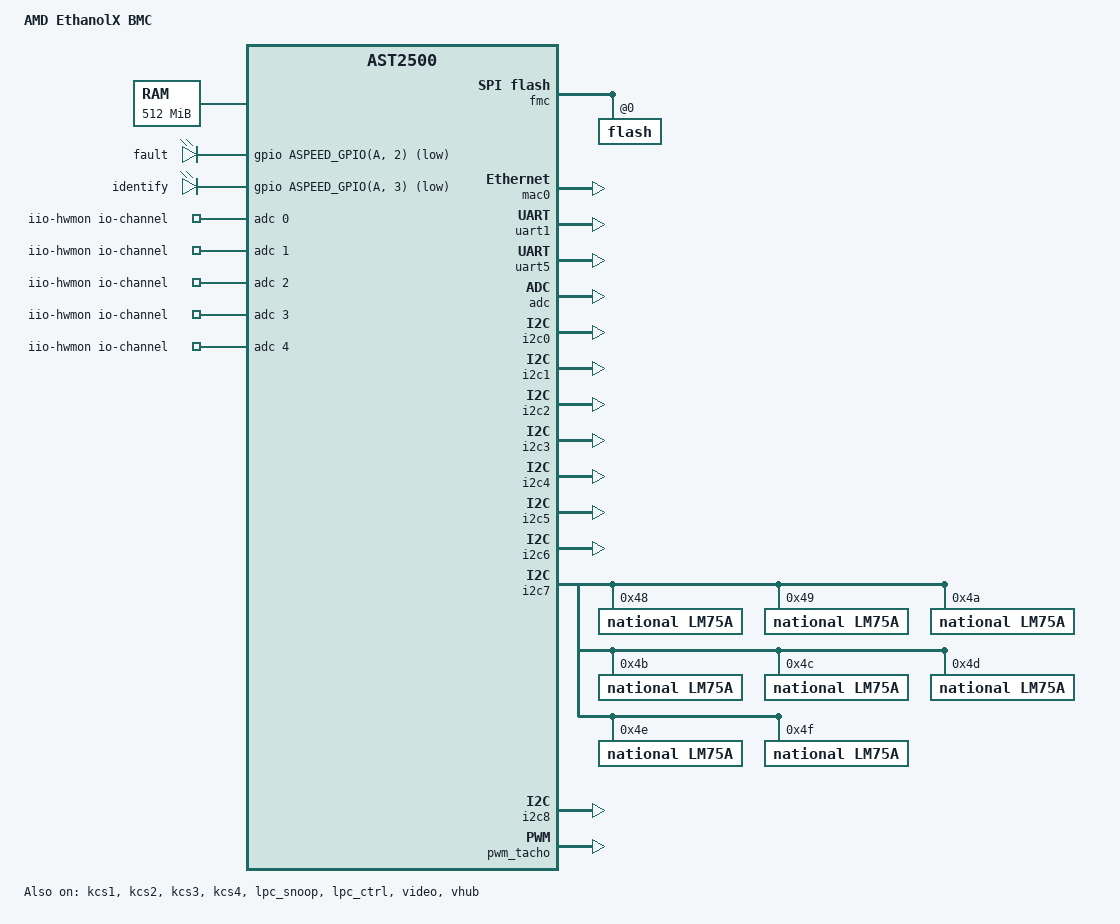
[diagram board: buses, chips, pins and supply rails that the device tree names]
// SPDX-License-Identifier: GPL-2.0
// Copyright (c) 2020 AMD Inc.
// Author: Supreeth Venkatesh <supreeth.venkatesh@amd.com>
/dts-v1/;

#include "aspeed-g5.dtsi"
#include <dt-bindings/gpio/aspeed-gpio.h>

/ {
	model = "AMD EthanolX BMC";
	compatible = "amd,ethanolx-bmc", "aspeed,ast2500";

	memory@80000000 {
		reg = <0x80000000 0x20000000>;
	};

	reserved-memory {
		#address-cells = <1>;
		#size-cells = <1>;
		ranges;

		video_engine_memory: jpegbuffer {
			size = <0x02000000>;	/* 32M */
			alignment = <0x01000000>;
			compatible = "shared-dma-pool";
			reusable;
		};
	};


	aliases {
		serial0 = &uart1;
		serial4 = &uart5;
	};
	chosen {
		stdout-path = &uart5;
		bootargs = "console=ttyS4,115200 earlycon";
	};
	leds {
		compatible = "gpio-leds";

		fault {
			gpios = <&gpio ASPEED_GPIO(A, 2) GPIO_ACTIVE_LOW>;
		};

		identify {
			gpios = <&gpio ASPEED_GPIO(A, 3) GPIO_ACTIVE_LOW>;
		};
	};
	iio-hwmon {
		compatible = "iio-hwmon";
		io-channels = <&adc 0>, <&adc 1>, <&adc 2>, <&adc 3>, <&adc 4>;
	};
};

&fmc {
	status = "okay";
	flash@0 {
		status = "okay";
		m25p,fast-read;
		#include "openbmc-flash-layout.dtsi"
	};
};


&mac0 {
	status = "okay";

	pinctrl-names = "default";
	pinctrl-0 = <&pinctrl_rmii1_default>;
	clocks = <&syscon ASPEED_CLK_GATE_MAC1CLK>,
		 <&syscon ASPEED_CLK_MAC1RCLK>;
	clock-names = "MACCLK", "RCLK";
};

&uart1 {
	//Host Console
	status = "okay";
	pinctrl-names = "default";
	pinctrl-0 = <&pinctrl_txd1_default
		     &pinctrl_rxd1_default>;
};

&uart5 {
	//BMC Console
	status = "okay";
};

&adc {
	status = "okay";

	pinctrl-names = "default";
	pinctrl-0 = <&pinctrl_adc0_default
		     &pinctrl_adc1_default
		     &pinctrl_adc2_default
		     &pinctrl_adc3_default
		     &pinctrl_adc4_default>;
};

&gpio {
	status = "okay";
	gpio-line-names =
	/*A0-A7*/	"","","FAULT_LED","CHASSIS_ID_LED","","","","",
	/*B0-B7*/	"","","","","","","","",
	/*C0-C7*/	"CHASSIS_ID_BTN","INTRUDER","AC_LOSS","","","","","",
	/*D0-D7*/	"HDT_DBREQ","LOCAL_SPI_ROM_SEL","FPGA_SPI_ROM_SEL","JTAG_MUX_S",
			"JTAG_MUX_OE","HDT_SEL","ASERT_WARM_RST_BTN","FPGA_RSVD",
	/*E0-E7*/	"","","MON_P0_PWR_BTN","MON_P0_RST_BTN","MON_P0_NMI_BTN",
			"MON_P0_PWR_GOOD","MON_PWROK","MON_RESET",
	/*F0-F7*/	"MON_P0_PROCHOT","MON_P1_PROCHOT","MON_P0_THERMTRIP",
			"MON_P1_THERMTRIP","P0_PRESENT","P1_PRESENT","MON_ATX_PWR_OK","",
	/*G0-G7*/	"BRD_REV_ID_3","BRD_REV_ID_2","BRD_REV_ID_1","BRD_REV_ID_0",
			"P0_APML_ALERT","P1_APML_ALERT","FPGA ALERT","",
	/*H0-H7*/	"BRD_ID_0","BRD_ID_1","BRD_ID_2","BRD_ID_3",
			"PCIE_DISCONNECTED","USB_DISCONNECTED","SPARE_0","SPARE_1",
	/*I0-I7*/	"","","","","","","","",
	/*J0-J7*/	"","","","","","","","",
	/*K0-K7*/	"","","","","","","","",
	/*L0-L7*/	"","","","","","","","",
	/*M0-M7*/	"ASSERT_PWR_BTN","ASSERT_RST_BTN","ASSERT_NMI_BTN",
			"ASSERT_LOCAL_LOCK","ASSERT_P0_PROCHOT","ASSERT_P1_PROCHOT",
			"ASSERT_CLR_CMOS","ASSERT_BMC_READY",
	/*N0-N7*/	"","","","","","","","",
	/*O0-O7*/	"","","","","","","","",
	/*P0-P7*/	"P0_VDD_CORE_RUN_VRHOT","P0_VDD_SOC_RUN_VRHOT",
			"P0_VDD_MEM_ABCD_SUS_VRHOT","P0_VDD_MEM_EFGH_SUS_VRHOT",
			"P1_VDD_CORE_RUN_VRHOT","P1_VDD_SOC_RUN_VRHOT",
			"P1_VDD_MEM_ABCD_SUS_VRHOT","P1_VDD_MEM_EFGH_SUS_VRHOT",
	/*Q0-Q7*/	"","","","","","","","",
	/*R0-R7*/	"","","","","","","","",
	/*S0-S7*/	"","","","","","","","",
	/*T0-T7*/	"","","","","","","","",
	/*U0-U7*/	"","","","","","","","",
	/*V0-V7*/	"","","","","","","","",
	/*W0-W7*/	"","","","","","","","",
	/*X0-X7*/	"","","","","","","","",
	/*Y0-Y7*/	"","","","","","","","",
	/*Z0-Z7*/	"","","","","","","","",
	/*AA0-AA7*/	"","SENSOR THERM","","","","","","",
	/*AB0-AB7*/	"","","","","","","","",
	/*AC0-AC7*/	"","","","","","","","";
};

//APML for P0
&i2c0 {
	status = "okay";
};

//APML for P1
&i2c1 {
	status = "okay";
};

//FPGA
&i2c2 {
	status = "okay";
};

//24LC128 EEPROM
&i2c3 {
	status = "okay";
};

//P0 Power regulators
&i2c4 {
	status = "okay";
};

//P1 Power regulators
&i2c5 {
	status = "okay";
};

//P0/P1 Thermal diode
&i2c6 {
	status = "okay";
};

// Thermal Sensors
&i2c7 {
	status = "okay";

	lm75a@48 {
		compatible = "national,lm75a";
		reg = <0x48>;
	};

	lm75a@49 {
		compatible = "national,lm75a";
		reg = <0x49>;
	};

	lm75a@4a {
		compatible = "national,lm75a";
		reg = <0x4a>;
	};

	lm75a@4b {
		compatible = "national,lm75a";
		reg = <0x4b>;
	};

	lm75a@4c {
		compatible = "national,lm75a";
		reg = <0x4c>;
	};

	lm75a@4d {
		compatible = "national,lm75a";
		reg = <0x4d>;
	};

	lm75a@4e {
		compatible = "national,lm75a";
		reg = <0x4e>;
	};

	lm75a@4f {
		compatible = "national,lm75a";
		reg = <0x4f>;
	};
};

//BMC I2C
&i2c8 {
	status = "okay";
};

&kcs1 {
	status = "okay";
	aspeed,lpc-io-reg = <0x60>;
};

&kcs2 {
	status = "okay";
	aspeed,lpc-io-reg = <0x62>;
};

&kcs3 {
	status = "okay";
	aspeed,lpc-io-reg = <0xCA2>;
};

&kcs4 {
	status = "okay";
	aspeed,lpc-io-reg = <0x97DE>;
};

&lpc_snoop {
	status = "okay";
	snoop-ports = <0x80>, <0x81>;
};

&lpc_ctrl {
	//Enable lpc clock
	status = "okay";
};

&pwm_tacho {
	status = "okay";
	pinctrl-names = "default";
	pinctrl-0 = <&pinctrl_pwm0_default
	&pinctrl_pwm1_default
	&pinctrl_pwm2_default
	&pinctrl_pwm3_default
	&pinctrl_pwm4_default
	&pinctrl_pwm5_default
	&pinctrl_pwm6_default
	&pinctrl_pwm7_default>;

	fan@0 {
		reg = <0x00>;
		aspeed,fan-tach-ch = /bits/ 8 <0x00>;
	};

	fan@1 {
		reg = <0x01>;
		aspeed,fan-tach-ch = /bits/ 8 <0x01>;
	};

	fan@2 {
		reg = <0x02>;
		aspeed,fan-tach-ch = /bits/ 8 <0x02>;
	};

	fan@3 {
		reg = <0x03>;
		aspeed,fan-tach-ch = /bits/ 8 <0x03>;
	};

	fan@4 {
		reg = <0x04>;
		aspeed,fan-tach-ch = /bits/ 8 <0x04>;
	};

	fan@5 {
		reg = <0x05>;
		aspeed,fan-tach-ch = /bits/ 8 <0x05>;
	};

	fan@6 {
		reg = <0x06>;
		aspeed,fan-tach-ch = /bits/ 8 <0x06>;
	};

	fan@7 {
		reg = <0x07>;
		aspeed,fan-tach-ch = /bits/ 8 <0x07>;
	};
};

&video {
	status = "okay";
	memory-region = <&video_engine_memory>;
};

&vhub {
	status = "okay";
};

